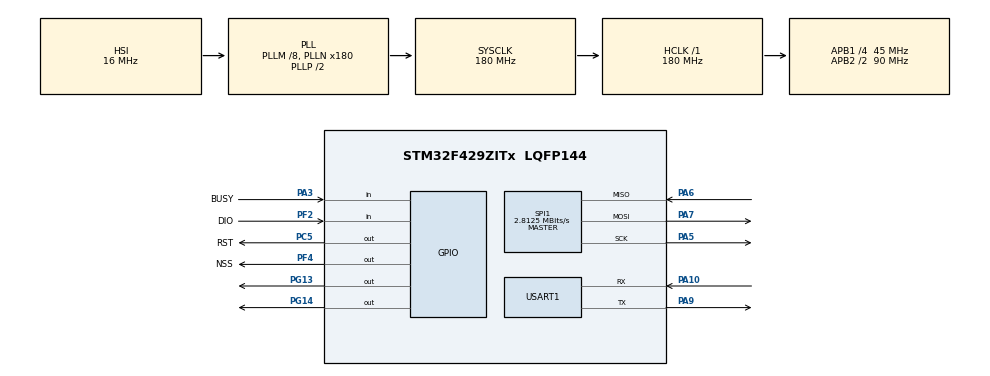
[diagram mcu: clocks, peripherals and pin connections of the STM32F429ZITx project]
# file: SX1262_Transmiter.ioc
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Mcu.Family=STM32F4
Mcu.Name=STM32F429ZITx
Mcu.Package=LQFP144
NVIC.PriorityGroup=NVIC_PRIORITYGROUP_4
PA10.Mode=Asynchronous
PA10.Signal=USART1_RX
PA13.Mode=Serial_Wire
PA13.Signal=SYS_JTMS-SWDIO
PA14.Mode=Serial_Wire
PA14.Signal=SYS_JTCK-SWCLK
PA3.GPIO_Label=BUSY
PA3.Signal=GPIO_Input
PA5.Mode=Full_Duplex_Master
PA5.Signal=SPI1_SCK
PA6.Mode=Full_Duplex_Master
PA6.Signal=SPI1_MISO
PA7.Mode=Full_Duplex_Master
PA7.Signal=SPI1_MOSI
PA9.Mode=Asynchronous
PA9.Signal=USART1_TX
PC5.GPIO_Label=RST
PC5.PinState=GPIO_PIN_SET
PC5.Signal=GPIO_Output
PF2.GPIO_Label=DIO
PF2.Signal=GPIO_Input
PF4.GPIO_Label=NSS
PF4.GPIO_Speed=GPIO_SPEED_FREQ_VERY_HIGH
PF4.PinState=GPIO_PIN_SET
PF4.Signal=GPIO_Output
PG13.Signal=GPIO_Output
PG14.Signal=GPIO_Output
PH0/OSC_IN.Mode=HSE-External-Oscillator
PH0/OSC_IN.Signal=RCC_OSC_IN
PH1/OSC_OUT.Mode=HSE-External-Oscillator
PH1/OSC_OUT.Signal=RCC_OSC_OUT
ProjectManager.HeapSize=0x200
ProjectManager.StackSize=0x400
ProjectManager.TargetToolchain=STM32CubeIDE
RCC.48MHZClocksFreq_Value=90000000
RCC.AHBFreq_Value=180000000
RCC.APB1CLKDivider=RCC_HCLK_DIV4
RCC.APB1Freq_Value=45000000
RCC.APB1TimFreq_Value=90000000
RCC.APB2CLKDivider=RCC_HCLK_DIV2
RCC.APB2Freq_Value=90000000
RCC.APB2TimFreq_Value=180000000
RCC.CortexFreq_Value=180000000
RCC.HCLKFreq_Value=180000000
RCC.HSE_VALUE=25000000
RCC.HSI_VALUE=16000000
RCC.LSE_VALUE=32768
RCC.PLLM=8
RCC.PLLN=180
RCC.SYSCLKFreq_VALUE=180000000
RCC.SYSCLKSource=RCC_SYSCLKSOURCE_PLLCLK
RCC.VCOOutputFreq_Value=360000000
SPI1.BaudRatePrescaler=SPI_BAUDRATEPRESCALER_32
SPI1.CalculateBaudRate=2.8125 MBits/s
SPI1.Direction=SPI_DIRECTION_2LINES
SPI1.Mode=SPI_MODE_MASTER
SPI1.VirtualType=VM_MASTER
USART1.VirtualMode=VM_ASYNC
board=custom

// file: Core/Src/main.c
/* USER CODE BEGIN Header */
/**
  ******************************************************************************
  * @file           : main.c
  * @brief          : Main program body
  ******************************************************************************
  * @attention
  *
  * Copyright (c) 2026 STMicroelectronics.
  * All rights reserved.
  *
  * This software is licensed under terms that can be found in the LICENSE file
  * in the root directory of this software component.
  * If no LICENSE file comes with this software, it is provided AS-IS.
  *
  ******************************************************************************
  */
/* USER CODE END Header */
#include "main.h"

/* USER CODE BEGIN Includes */
#include "ANSII_Codes.h"
#include "SX1262.h"
#include "string.h"
#include "stdio.h"
/* USER CODE END Includes */

SPI_HandleTypeDef hspi1;

UART_HandleTypeDef huart1;

/* USER CODE BEGIN PV */

SX1262_Status_t status;

// Definir la configuración de LoRa usando la estructura creada
lora_config_t mi_config = {
    .frequency = 915000000,           // 915 MHz
    .spreading_factor = 11,           // SF11
    .bandwidth = BW_250_KHZ,          // 250 kHz
    .coding_rate = CR_4_5,            // CR 4/5
    .tx_power = 20,                   // +20 dBm
    .preamble_len = 8,                // 8 símbolos
    .iq_inverted = false,             // Modo estandar
    .network_mode = LORA_NETWORK_PUBLIC,           // Red pública
    .lora_sync_word = 0,              // Ningun Sync Word de software sobrescrito
    .config_pending = false
};

uint8_t default_payload[] = "Prueba Lora SX1262 C Nativo";
char trans_buffer[64];
uint32_t last_tx_time = 0;
uint32_t packet_counter = 0;

char buffer[100];
/* USER CODE END PV */

void SystemClock_Config(void);
static void MX_GPIO_Init(void);
static void MX_SPI1_Init(void);
static void MX_USART1_UART_Init(void);

int main(void)
{

  /* MCU Configuration--------------------------------------------------------*/

  /* Reset of all peripherals, Initializes the Flash interface and the Systick. */
  HAL_Init();

  /* Configure the system clock */
  SystemClock_Config();

  /* Initialize all configured peripherals */
  MX_GPIO_Init();
  MX_SPI1_Init();
  MX_USART1_UART_Init();
  /* USER CODE BEGIN 2 */

  /* --- Inicialización del módulo SX1262 --- */
  status = SX1262_Init(&hspi1,
		  	  	  	  	  NSS_GPIO_Port,  NSS_Pin,
						  BUSY_GPIO_Port, BUSY_Pin,
						  DIO_GPIO_Port,  DIO_Pin,
						  RST_GPIO_Port,  RST_Pin
					  );

  if (status != SX1262_OK)
  {
	  Error_Handler();
  }

  /* --- Aplicar configuración LoRa (idéntica al transmisor) --- */
  if(SX1262_ApplyConfig(&mi_config) != SX1262_OK)
  {
      Error_Handler();
  }

  /* USER CODE END 2 */

  /* Infinite loop */
  /* USER CODE BEGIN WHILE */
  while (1)
  {

      // Enviar mensaje cada 5000 milisegundos (5 segundos)
      if (HAL_GetTick() - last_tx_time > 5000)
      {
    	  HAL_GPIO_WritePin(GPIOG, GPIO_PIN_13, GPIO_PIN_SET);

          last_tx_time = HAL_GetTick();

          // Formateamos el mensaje para incluir el número del paquete
          sprintf(trans_buffer, "%s [%lu]", default_payload, ++packet_counter);
          sprintf(buffer, "%sTransmitiendo Payload: %s%s\r\n", COLOR_BRIGHT_CYAN, trans_buffer, COLOR_RESET);
          HAL_UART_Transmit(&huart1, (uint8_t*)buffer, strlen(buffer), 1000);

          // Realizamos la Transmisión al aire
          status = SX1262_Transmit((uint8_t*)trans_buffer, strlen(trans_buffer));

          if (status == SX1262_OK)
          {
        	  sprintf(buffer, "%s-> Transmisión EXITOSA (TxDone interrupcion confirmada).%s\r\n", COLOR_BRIGHT_GREEN, COLOR_RESET);
        	  HAL_UART_Transmit(&huart1, (uint8_t*)buffer, strlen(buffer), 1000);
          }
          else if(status == SX1262_TIMEOUT)
          {
        	  sprintf(buffer, "%s-> FALLO: Timeout de software. Revise el pin DIO1 o conexion SPI.%s\r\n", COLOR_BRIGHT_RED, COLOR_RESET);
        	  HAL_UART_Transmit(&huart1, (uint8_t*)buffer, strlen(buffer), 1000);
          }
          else if(status != SX1262_OK)
          {
        	  sprintf(buffer, "%s-> FALLO en la transmision. Codigo: %d%s\r\n", COLOR_BRIGHT_RED,status, COLOR_RESET);
			  HAL_UART_Transmit(&huart1, (uint8_t*)buffer, strlen(buffer), 1000);
          }

          HAL_GPIO_WritePin(GPIOG, GPIO_PIN_13, GPIO_PIN_RESET);
      }

    /* USER CODE END WHILE */

  }
}

void SystemClock_Config(void)
{
  RCC_OscInitTypeDef RCC_OscInitStruct = {0};
  RCC_ClkInitTypeDef RCC_ClkInitStruct = {0};

  /** Configure the main internal regulator output voltage
  */
  __HAL_RCC_PWR_CLK_ENABLE();
  __HAL_PWR_VOLTAGESCALING_CONFIG(PWR_REGULATOR_VOLTAGE_SCALE1);

  /** Initializes the RCC Oscillators according to the specified parameters
  * in the RCC_OscInitTypeDef structure.
  */
  RCC_OscInitStruct.OscillatorType = RCC_OSCILLATORTYPE_HSI;
  RCC_OscInitStruct.HSIState = RCC_HSI_ON;
  RCC_OscInitStruct.HSICalibrationValue = RCC_HSICALIBRATION_DEFAULT;
  RCC_OscInitStruct.PLL.PLLState = RCC_PLL_ON;
  RCC_OscInitStruct.PLL.PLLSource = RCC_PLLSOURCE_HSI;
  RCC_OscInitStruct.PLL.PLLM = 8;
  RCC_OscInitStruct.PLL.PLLN = 180;
  RCC_OscInitStruct.PLL.PLLP = RCC_PLLP_DIV2;
  RCC_OscInitStruct.PLL.PLLQ = 4;
  if (HAL_RCC_OscConfig(&RCC_OscInitStruct) != HAL_OK)
  {
    Error_Handler();
  }

  /** Activate the Over-Drive mode
  */
  if (HAL_PWREx_EnableOverDrive() != HAL_OK)
  {
    Error_Handler();
  }

  /** Initializes the CPU, AHB and APB buses clocks
  */
  RCC_ClkInitStruct.ClockType = RCC_CLOCKTYPE_HCLK|RCC_CLOCKTYPE_SYSCLK
                              |RCC_CLOCKTYPE_PCLK1|RCC_CLOCKTYPE_PCLK2;
  RCC_ClkInitStruct.SYSCLKSource = RCC_SYSCLKSOURCE_PLLCLK;
  RCC_ClkInitStruct.AHBCLKDivider = RCC_SYSCLK_DIV1;
  RCC_ClkInitStruct.APB1CLKDivider = RCC_HCLK_DIV4;
  RCC_ClkInitStruct.APB2CLKDivider = RCC_HCLK_DIV2;

  if (HAL_RCC_ClockConfig(&RCC_ClkInitStruct, FLASH_LATENCY_5) != HAL_OK)
  {
    Error_Handler();
  }
}

static void MX_SPI1_Init(void)
{

  /* SPI1 parameter configuration*/
  hspi1.Instance = SPI1;
  hspi1.Init.Mode = SPI_MODE_MASTER;
  hspi1.Init.Direction = SPI_DIRECTION_2LINES;
  hspi1.Init.DataSize = SPI_DATASIZE_8BIT;
  hspi1.Init.CLKPolarity = SPI_POLARITY_LOW;
  hspi1.Init.CLKPhase = SPI_PHASE_1EDGE;
  hspi1.Init.NSS = SPI_NSS_SOFT;
  hspi1.Init.BaudRatePrescaler = SPI_BAUDRATEPRESCALER_32;
  hspi1.Init.FirstBit = SPI_FIRSTBIT_MSB;
  hspi1.Init.TIMode = SPI_TIMODE_DISABLE;
  hspi1.Init.CRCCalculation = SPI_CRCCALCULATION_DISABLE;
  hspi1.Init.CRCPolynomial = 10;
  if (HAL_SPI_Init(&hspi1) != HAL_OK)
  {
    Error_Handler();
  }

}

static void MX_USART1_UART_Init(void)
{

  huart1.Instance = USART1;
  huart1.Init.BaudRate = 115200;
  huart1.Init.WordLength = UART_WORDLENGTH_8B;
  huart1.Init.StopBits = UART_STOPBITS_1;
  huart1.Init.Parity = UART_PARITY_NONE;
  huart1.Init.Mode = UART_MODE_TX_RX;
  huart1.Init.HwFlowCtl = UART_HWCONTROL_NONE;
  huart1.Init.OverSampling = UART_OVERSAMPLING_16;
  if (HAL_UART_Init(&huart1) != HAL_OK)
  {
    Error_Handler();
  }

}

static void MX_GPIO_Init(void)
{
  GPIO_InitTypeDef GPIO_InitStruct = {0};

  /* GPIO Ports Clock Enable */
  __HAL_RCC_GPIOF_CLK_ENABLE();
  __HAL_RCC_GPIOH_CLK_ENABLE();
  __HAL_RCC_GPIOA_CLK_ENABLE();
  __HAL_RCC_GPIOC_CLK_ENABLE();
  __HAL_RCC_GPIOG_CLK_ENABLE();

  /*Configure GPIO pin Output Level */
  HAL_GPIO_WritePin(NSS_GPIO_Port, NSS_Pin, GPIO_PIN_SET);

  /*Configure GPIO pin Output Level */
  HAL_GPIO_WritePin(RST_GPIO_Port, RST_Pin, GPIO_PIN_SET);

  /*Configure GPIO pin Output Level */
  HAL_GPIO_WritePin(GPIOG, GPIO_PIN_13|GPIO_PIN_14, GPIO_PIN_RESET);

  /*Configure GPIO pin : DIO_Pin */
  GPIO_InitStruct.Pin = DIO_Pin;
  GPIO_InitStruct.Mode = GPIO_MODE_INPUT;
  GPIO_InitStruct.Pull = GPIO_NOPULL;
  HAL_GPIO_Init(DIO_GPIO_Port, &GPIO_InitStruct);

  /*Configure GPIO pin : NSS_Pin */
  GPIO_InitStruct.Pin = NSS_Pin;
  GPIO_InitStruct.Mode = GPIO_MODE_OUTPUT_PP;
  GPIO_InitStruct.Pull = GPIO_NOPULL;
  GPIO_InitStruct.Speed = GPIO_SPEED_FREQ_VERY_HIGH;
  HAL_GPIO_Init(NSS_GPIO_Port, &GPIO_InitStruct);

  /*Configure GPIO pin : BUSY_Pin */
  GPIO_InitStruct.Pin = BUSY_Pin;
  GPIO_InitStruct.Mode = GPIO_MODE_INPUT;
  GPIO_InitStruct.Pull = GPIO_NOPULL;
  HAL_GPIO_Init(BUSY_GPIO_Port, &GPIO_InitStruct);

  /*Configure GPIO pin : RST_Pin */
  GPIO_InitStruct.Pin = RST_Pin;
  GPIO_InitStruct.Mode = GPIO_MODE_OUTPUT_PP;
  GPIO_InitStruct.Pull = GPIO_NOPULL;
  GPIO_InitStruct.Speed = GPIO_SPEED_FREQ_LOW;
  HAL_GPIO_Init(RST_GPIO_Port, &GPIO_InitStruct);

  /*Configure GPIO pins : PG13 PG14 */
  GPIO_InitStruct.Pin = GPIO_PIN_13|GPIO_PIN_14;
  GPIO_InitStruct.Mode = GPIO_MODE_OUTPUT_PP;
  GPIO_InitStruct.Pull = GPIO_NOPULL;
  GPIO_InitStruct.Speed = GPIO_SPEED_FREQ_LOW;
  HAL_GPIO_Init(GPIOG, &GPIO_InitStruct);

}

void Error_Handler(void)
{
  /* USER CODE BEGIN Error_Handler_Debug */
  /* User can add his own implementation to report the HAL error return state */
  __disable_irq();
  while (1)
  {
	  HAL_GPIO_WritePin(GPIOG, GPIO_PIN_14, GPIO_PIN_SET);
  }
  /* USER CODE END Error_Handler_Debug */
}
